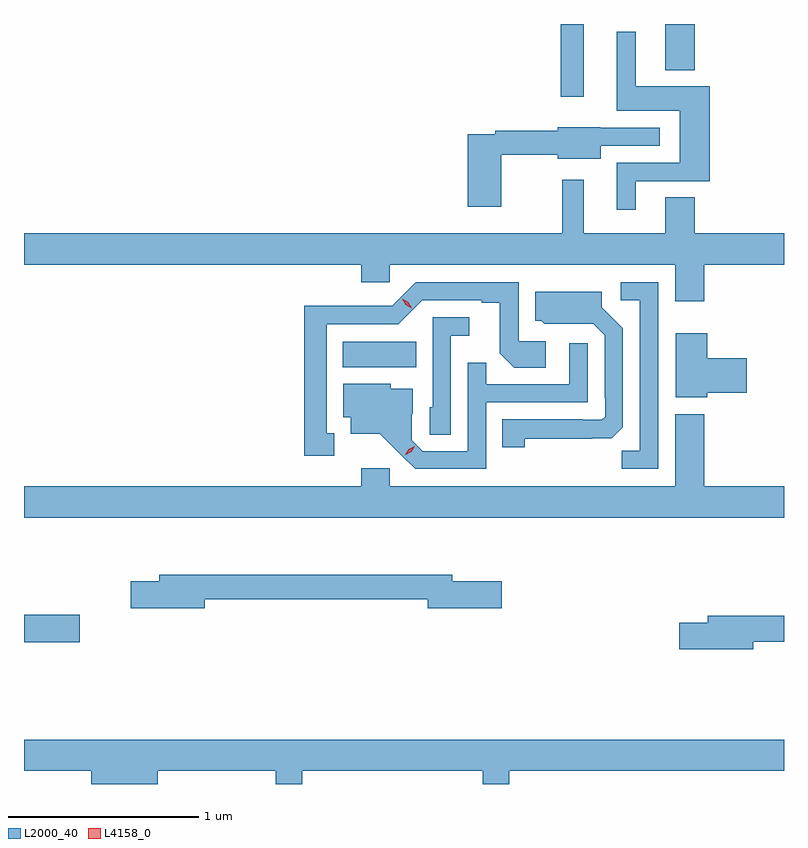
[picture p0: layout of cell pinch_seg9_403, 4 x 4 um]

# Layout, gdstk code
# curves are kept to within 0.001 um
import gdstk
lib = gdstk.Library(unit=1e-6, precision=1e-09)
def R(c, l, rs):  # rectangles x0, y0, x1, y1
    for r in rs: c.add(gdstk.rectangle(r[:2], r[2:], *l))
def P(c, l, *ps):  # polygons
    for p in ps: c.add(gdstk.Polygon(p, *l))
L2000_40 = (2000, 40)
L4158_0 = (4158, 0)

pinch_seg9_403 = lib.new_cell('pinch_seg9_403')
R(pinch_seg9_403, L2000_40, [(230.485,1243.715,230.779,1243.862), (232.163,1245.164,232.55,1245.298), (233.31,1246.587,233.431,1246.97), (233.861,1246.727,234.014,1246.97)])
P(pinch_seg9_403, L2000_40, [(233.704,1246.143),(234.095,1246.143),(234.095,1246.642),(233.704,1246.642),(233.704,1246.93),(233.606,1246.93),(233.606,1246.514),(233.936,1246.514),(233.936,1246.239),(233.606,1246.239),(233.606,1245.993),(233.704,1245.993)],
  [(232.998,1246.281),(233.294,1246.281),(233.294,1246.262),(233.521,1246.262),(233.521,1246.329),(233.83,1246.329),(233.83,1246.425),(233.517,1246.425),(233.517,1246.426),(233.294,1246.426),(233.294,1246.409),(232.966,1246.409),(232.966,1246.389),(232.82,1246.389),(232.82,1246.008),(232.998,1246.008)],
  [(234.065,1245.704),(234.485,1245.704),(234.485,1245.868),(234.014,1245.868),(234.014,1246.058),(233.861,1246.058),(233.861,1245.868),(233.431,1245.868),(233.431,1246.15),(233.317,1246.15),(233.317,1245.868),(230.485,1245.868),(230.485,1245.704),(232.259,1245.704),(232.259,1245.611),(232.41,1245.611),(232.41,1245.704),(233.912,1245.704),(233.912,1245.51),(234.065,1245.51)],
  [(233.823,1245.612),(233.625,1245.612),(233.625,1245.516),(233.727,1245.516),(233.727,1244.723),(233.632,1244.723),(233.632,1244.628),(233.823,1244.628)],
  [(232.117,1244.817),(232.078,1244.817),(232.078,1245.39),(232.455,1245.39),(232.581,1245.516),(232.895,1245.516),(232.895,1245.504),(232.989,1245.504),(232.989,1245.236),(233.065,1245.16),(233.23,1245.16),(233.23,1245.3),(233.088,1245.3),(233.088,1245.612),(232.548,1245.612),(232.422,1245.486),(232.2,1245.486),(232.2,1245.488),(231.96,1245.488),(231.96,1244.697),(232.117,1244.697)],
  [(233.121,1244.788),(233.578,1244.789),(233.637,1244.848),(233.637,1245.37),(233.527,1245.48),(233.527,1245.562),(233.177,1245.562),(233.177,1245.408),(233.208,1245.408),(233.224,1245.392),(233.481,1245.393),(233.541,1245.333),(233.541,1245.004),(233.544,1245.004),(233.544,1244.904),(233.526,1244.886),(233.426,1244.886),(233.426,1244.889),(233.002,1244.889),(233.002,1244.742),(233.121,1244.742)],
  [(232.731,1245.329),(232.828,1245.329),(232.828,1245.426),(232.635,1245.426),(232.635,1244.952),(232.62,1244.952),(232.62,1244.809),(232.731,1244.809)],
  [(234.082,1245.029),(234.289,1245.029),(234.289,1245.212),(234.082,1245.212),(234.082,1245.343),(233.915,1245.343),(233.915,1245.005),(234.082,1245.005)],
  [(232.917,1244.979),(233.451,1244.979),(233.451,1245.289),(233.355,1245.289),(233.355,1245.075),(232.919,1245.075),(232.919,1245.188),(232.821,1245.188),(232.821,1244.721),(232.584,1244.721),(232.527,1244.778),(232.527,1244.92),(232.531,1244.92),(232.531,1245.049),(232.416,1245.049),(232.416,1245.076),(232.166,1245.076),(232.166,1244.9),(232.205,1244.9),(232.205,1244.813),(232.357,1244.813),(232.544,1244.628),(232.917,1244.628)],
  [(234.485,1244.536),(234.065,1244.536),(234.065,1244.917),(233.912,1244.917),(233.912,1244.536),(232.41,1244.536),(232.41,1244.632),(232.259,1244.632),(232.259,1244.536),(230.485,1244.536),(230.485,1244.372),(234.485,1244.372)],
  [(231.436,1243.942),(232.61,1243.942),(232.61,1243.895),(232.999,1243.895),(232.999,1244.037),(232.738,1244.037),(232.738,1244.071),(231.197,1244.071),(231.197,1244.037),(231.048,1244.037),(231.048,1243.895),(231.436,1243.895)],
  [(234.322,1243.72),(234.485,1243.72),(234.485,1243.856),(234.083,1243.856),(234.083,1243.82),(233.934,1243.82),(233.934,1243.678),(234.322,1243.678)],
  [(230.485,1243.04),(230.84,1243.04),(230.84,1242.97),(231.19,1242.97),(231.19,1243.04),(231.809,1243.04),(231.809,1242.97),(231.949,1242.97),(231.949,1243.04),(232.899,1243.04),(232.899,1242.97),(233.038,1242.97),(233.038,1243.04),(234.485,1243.04),(234.485,1243.204),(230.485,1243.204)])
P(pinch_seg9_403, L4158_0, [(232.492,1244.703),(232.492,1244.703),(232.51,1244.733),(232.541,1244.748),(232.541,1244.748),(232.541,1244.747),(232.524,1244.718),(232.493,1244.703)],
  [(232.525,1245.473),(232.493,1245.492),(232.476,1245.525),(232.476,1245.525),(232.476,1245.525),(232.508,1245.506),(232.525,1245.474),(232.525,1245.473)])

lib.write_gds('pinch_seg9_403.gds')
